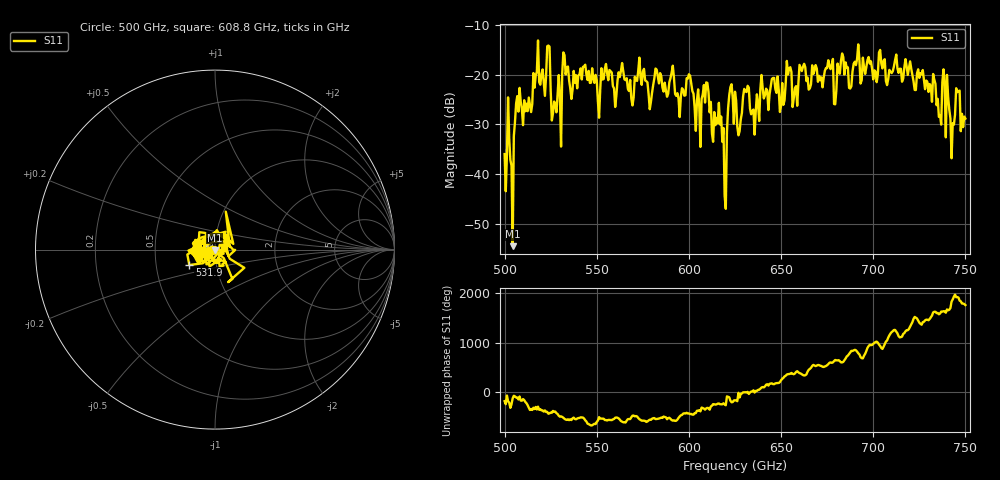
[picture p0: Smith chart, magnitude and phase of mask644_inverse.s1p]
!Created with skrf (http://scikit-rf.org).
# GHz S MA R 50.0
!freq magS11 angS11
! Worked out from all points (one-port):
!   401 points, 500 GHz to 750 GHz, reference 50 ohm
!   lowest |S11| = -54.4 dB at 504.4 GHz (marker M1), VSWR 1.00, Z = 49.9 - j0.165 ohm
!   |S11| at or under -10 dB: start of sweep to end of sweep
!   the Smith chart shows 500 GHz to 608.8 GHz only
!   S11 on the Smith chart (normalised r, x): 500 GHz: 0.97, -0.00; 531.9 GHz: 0.74, -0.13; 608.8 GHz: 1.11, +0.03
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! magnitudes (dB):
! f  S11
! 500 GHz  -36.0
! 502.5 GHz  -32.9
! 504.4 GHz  -54.4
! 506.9 GHz  -24.3
! 513.8 GHz  -26.0
! 516.9 GHz  -20.2
! 523.8 GHz  -14.2
! 526.9 GHz  -25.4
! 531.2 GHz  -19.9
! 531.9 GHz  -15.6
! 562.5 GHz  -20.5
! 579.4 GHz  -25.5
! 590.6 GHz  -19.6
! 593.8 GHz  -23.7
! 600 GHz  -19.9
! 605 GHz  -23.0
! 608.8 GHz  -25.6
! 617.5 GHz  -28.4
! 619.4 GHz  -44.3
! 622.5 GHz  -22.5
! 625 GHz  -23.4
! 656.2 GHz  -26.5
! 687.5 GHz  -22.8
! 691.2 GHz  -16.8
! 718.8 GHz  -20.1
! 742.5 GHz  -36.8
! 745.6 GHz  -23.5
! 750 GHz  -28.8
